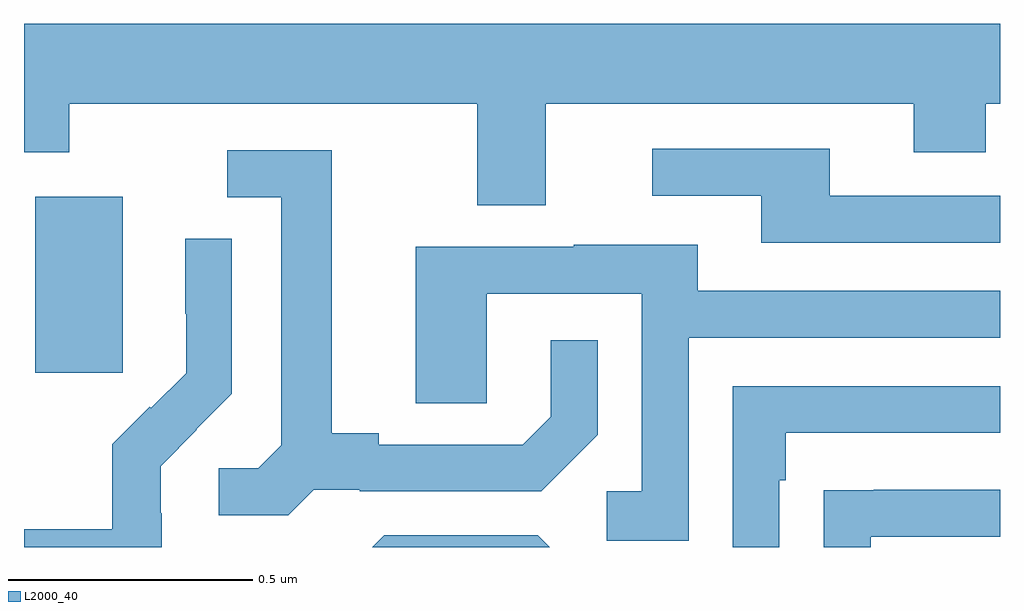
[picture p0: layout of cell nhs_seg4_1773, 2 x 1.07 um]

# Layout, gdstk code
import gdstk
lib = gdstk.Library(unit=1e-6, precision=1e-09)
def R(c, l, rs):  # rectangles x0, y0, x1, y1
    for r in rs: c.add(gdstk.rectangle(r[:2], r[2:], *l))
def P(c, l, *ps):  # polygons
    for p in ps: c.add(gdstk.Polygon(p, *l))
L2000_40 = (2000, 40)

nhs_seg4_1773 = lib.new_cell('nhs_seg4_1773')
R(nhs_seg4_1773, L2000_40, [(132.023,808.257,132.202,808.618)])
P(nhs_seg4_1773, L2000_40, [(133.069,808.808),(133.823,808.808),(133.823,808.709),(133.971,808.709),(133.971,808.808),(134,808.808),(134,808.972),(132,808.972),(132,808.709),(132.093,808.709),(132.093,808.808),(132.929,808.808),(132.929,808.6),(133.069,808.6)],
  [(134,808.62),(133.651,808.62),(133.651,808.716),(133.287,808.716),(133.287,808.62),(133.511,808.62),(133.511,808.524),(134,808.524)],
  [(132.594,808.017),(132.688,808.017),(132.688,808.014),(133.06,808.014),(133.176,808.13),(133.176,808.324),(133.079,808.324),(133.079,808.167),(133.022,808.11),(132.727,808.11),(132.727,808.133),(132.631,808.133),(132.631,808.713),(132.417,808.713),(132.417,808.617),(132.527,808.617),(132.527,808.109),(132.48,808.062),(132.399,808.062),(132.399,807.965),(132.542,807.965)],
  [(132.282,807.969),(132.28,807.969),(132.28,808.066),(132.354,808.14),(132.353,808.141),(132.426,808.214),(132.426,808.532),(132.33,808.532),(132.33,808.378),(132.332,808.378),(132.332,808.256),(132.261,808.185),(132.258,808.188),(132.181,808.111),(132.181,807.937),(132,807.937),(132,807.9),(132.282,807.9)],
  [(133.362,808.329),(134,808.329),(134,808.425),(133.381,808.425),(133.381,808.519),(133.127,808.519),(133.127,808.515),(132.803,808.515),(132.803,808.195),(132.948,808.195),(132.948,808.419),(133.266,808.419),(133.266,808.014),(133.194,808.014),(133.194,807.913),(133.362,807.913)],
  [(133.548,808.037),(133.561,808.037),(133.561,808.134),(134,808.134),(134,808.23),(133.452,808.23),(133.452,807.9),(133.548,807.9)],
  [(133.735,807.921),(134,807.921),(134,808.017),(133.741,808.017),(133.741,808.016),(133.639,808.016),(133.639,807.9),(133.735,807.9)],
  [(133.053,807.924),(132.738,807.924),(132.714,807.9),(133.077,807.9)])

lib.write_gds('nhs_seg4_1773.gds')
